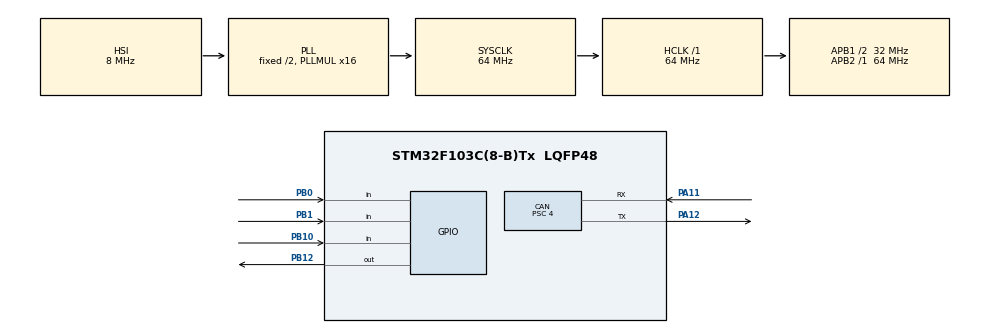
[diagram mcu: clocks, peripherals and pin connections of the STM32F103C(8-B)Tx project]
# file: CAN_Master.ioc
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CAN.ABOM=ENABLE
CAN.BS1=CAN_BS1_13TQ
CAN.BS2=CAN_BS2_2TQ
CAN.CalculateBaudRate=500000
CAN.CalculateTimeBit=2000
CAN.CalculateTimeQuantum=125.0
CAN.NART=ENABLE
CAN.Prescaler=4
CAN.SJW=CAN_SJW_2TQ
Mcu.Family=STM32F1
Mcu.Name=STM32F103C(8-B)Tx
Mcu.Package=LQFP48
NVIC.PriorityGroup=NVIC_PRIORITYGROUP_4
NVIC.USB_LP_CAN1_RX0_IRQn=true\:0\:0\:false\:false\:true\:true\:true\:true
PA11.Mode=CAN_Activate
PA11.Signal=CAN_RX
PA12.Mode=CAN_Activate
PA12.Signal=CAN_TX
PB0.GPIO_PuPd=GPIO_PULLDOWN
PB0.Signal=GPIO_Input
PB1.GPIO_PuPd=GPIO_PULLDOWN
PB1.Signal=GPIO_Input
PB10.GPIO_PuPd=GPIO_PULLDOWN
PB10.Signal=GPIO_Input
PB12.Signal=GPIO_Output
ProjectManager.HeapSize=0x200
ProjectManager.StackSize=0x400
ProjectManager.TargetToolchain=STM32CubeIDE
RCC.AHBFreq_Value=64000000
RCC.APB1CLKDivider=RCC_HCLK_DIV2
RCC.APB1Freq_Value=32000000
RCC.APB1TimFreq_Value=64000000
RCC.APB2Freq_Value=64000000
RCC.APB2TimFreq_Value=64000000
RCC.HCLKFreq_Value=64000000
RCC.PLLMUL=RCC_PLL_MUL16
RCC.SYSCLKFreq_VALUE=64000000
RCC.SYSCLKSource=RCC_SYSCLKSOURCE_PLLCLK
RCC.USBFreq_Value=64000000
TIM2.Prescaler=63999
VP_SYS_VS_ND.Mode=No_Debug
VP_TIM2_VS_ClockSourceINT.Mode=Internal
board=custom

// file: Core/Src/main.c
/* USER CODE BEGIN Header */
/**
  ******************************************************************************
  * @file           : main.c
  * @brief          : Main program body
  ******************************************************************************
  * @attention
  *
  * Copyright (c) 2026 STMicroelectronics.
  * All rights reserved.
  *
  * This software is licensed under terms that can be found in the LICENSE file
  * in the root directory of this software component.
  * If no LICENSE file comes with this software, it is provided AS-IS.
  *
  ******************************************************************************
  */
/* USER CODE END Header */
#include "main.h"
#include "can.h"
#include "tim.h"
#include "gpio.h"

/* USER CODE BEGIN Includes */
#include <stdio.h>
/* USER CODE END Includes */

/* USER CODE BEGIN PTD */
CAN_FilterTypeDef sFilterConfig;
/* USER CODE END PTD */

/* USER CODE BEGIN PD */
#define RIGHT 0x01
#define LEFT 0x02
#define WAITING 0x03

#define RIGHT_PP GPIO_PIN_0
#define MID_PP GPIO_PIN_1
#define LEFT_PP GPIO_PIN_10
/* USER CODE END PD */

void SystemClock_Config(void);
/* USER CODE BEGIN PFP */
void delay_ms(uint32_t ms);
/* USER CODE END PFP */

int main(void)
{

  /* MCU Configuration--------------------------------------------------------*/

  /* Reset of all peripherals, Initializes the Flash interface and the Systick. */
  HAL_Init();

  /* Configure the system clock */
  SystemClock_Config();

  /* Initialize all configured peripherals */
  MX_GPIO_Init();
  MX_TIM2_Init();
  MX_CAN_Init();
  /* USER CODE BEGIN 2 */
  sFilterConfig.FilterBank = 0;
  sFilterConfig.FilterMode = CAN_FILTERMODE_IDMASK;
  sFilterConfig.FilterScale = CAN_FILTERSCALE_32BIT;
  sFilterConfig.FilterIdHigh = 0x0000;
  sFilterConfig.FilterIdLow = 0x0000;
  sFilterConfig.FilterMaskIdHigh = 0x0000; // 0 يعني "وافق على الكل"
  sFilterConfig.FilterMaskIdLow = 0x0000;
  sFilterConfig.FilterFIFOAssignment = CAN_RX_FIFO0;
  sFilterConfig.FilterActivation = CAN_FILTER_ENABLE;

  HAL_CAN_ConfigFilter(&hcan, &sFilterConfig);
  HAL_CAN_Start(&hcan);
  HAL_CAN_ActivateNotification(&hcan, CAN_IT_RX_FIFO0_MSG_PENDING);
  /* USER CODE END 2 */

  /* Infinite loop */
  while (1)
  {

  }
}

void SystemClock_Config(void)
{
  RCC_OscInitTypeDef RCC_OscInitStruct = {0};
  RCC_ClkInitTypeDef RCC_ClkInitStruct = {0};

  /** Initializes the RCC Oscillators according to the specified parameters
  * in the RCC_OscInitTypeDef structure.
  */
  RCC_OscInitStruct.OscillatorType = RCC_OSCILLATORTYPE_HSI;
  RCC_OscInitStruct.HSIState = RCC_HSI_ON;
  RCC_OscInitStruct.HSICalibrationValue = RCC_HSICALIBRATION_DEFAULT;
  RCC_OscInitStruct.PLL.PLLState = RCC_PLL_ON;
  RCC_OscInitStruct.PLL.PLLSource = RCC_PLLSOURCE_HSI_DIV2;
  RCC_OscInitStruct.PLL.PLLMUL = RCC_PLL_MUL16;
  if (HAL_RCC_OscConfig(&RCC_OscInitStruct) != HAL_OK)
  {
    Error_Handler();
  }

  /** Initializes the CPU, AHB and APB buses clocks
  */
  RCC_ClkInitStruct.ClockType = RCC_CLOCKTYPE_HCLK|RCC_CLOCKTYPE_SYSCLK
                              |RCC_CLOCKTYPE_PCLK1|RCC_CLOCKTYPE_PCLK2;
  RCC_ClkInitStruct.SYSCLKSource = RCC_SYSCLKSOURCE_PLLCLK;
  RCC_ClkInitStruct.AHBCLKDivider = RCC_SYSCLK_DIV1;
  RCC_ClkInitStruct.APB1CLKDivider = RCC_HCLK_DIV2;
  RCC_ClkInitStruct.APB2CLKDivider = RCC_HCLK_DIV1;

  if (HAL_RCC_ClockConfig(&RCC_ClkInitStruct, FLASH_LATENCY_2) != HAL_OK)
  {
    Error_Handler();
  }
}

/* USER CODE BEGIN 4 */

void HAL_CAN_RxFifo0MsgPendingCallback(CAN_HandleTypeDef *hcan)
{
    CAN_RxHeaderTypeDef RxHeader;
    uint8_t RxData[1];

    if (HAL_CAN_GetRxMessage(hcan, CAN_RX_FIFO0, &RxHeader, RxData) == HAL_OK)
    {
        // لو استلمنا الرسالة اللي قيمتها a1
        if (RxData[0] == 0xA1)
        {
            CAN_TxHeaderTypeDef ReplyHeader;
            uint8_t ReplyData[1] = {0xB2}; // قيمة الرد
            uint32_t ReplyMailbox;

            ReplyHeader.StdId = 0x202; // ID الرد
            ReplyHeader.RTR = CAN_RTR_DATA;
            ReplyHeader.IDE = CAN_ID_STD;
            ReplyHeader.DLC = 1;

            // إرسال الرد فوراً للميكرو الأول
            HAL_CAN_AddTxMessage(hcan, &ReplyHeader, ReplyData, &ReplyMailbox);
        }
    }
}
/* USER CODE END 4 */

void Error_Handler(void)
{
  __disable_irq();
  while (1)
  {
  }
}
